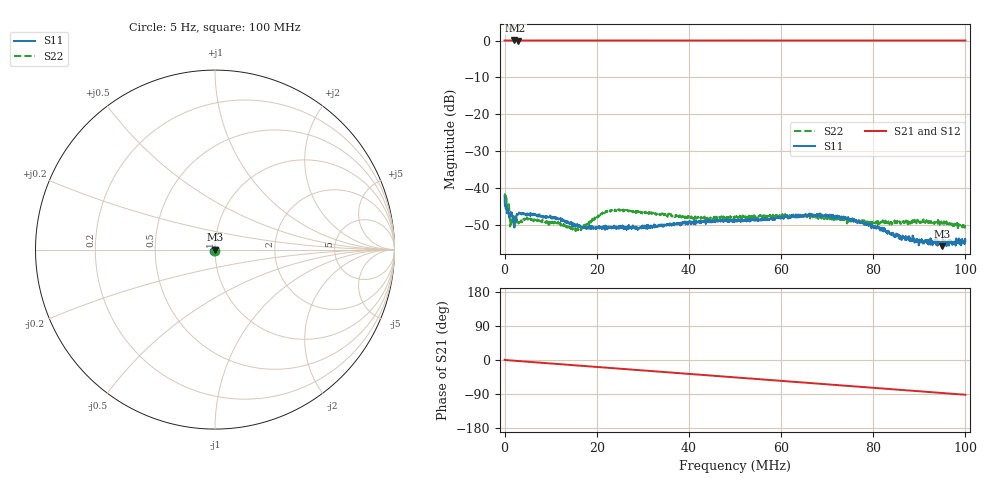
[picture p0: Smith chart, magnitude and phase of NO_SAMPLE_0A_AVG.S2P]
!Agilent Technologies,E5061B,MY49102235,A.02.00
!Date: Tue Jul 11 14:25:56 2023
!Data & Calibration Information:
!Freq	S11:SOLT2(ON)	S21:SOLT2(ON)	S12:SOLT2(ON)	S22:SOLT2(ON)
# Hz S RI R 50
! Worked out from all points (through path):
!   1600 points, 5 Hz to 100 MHz, reference 50 ohm
!   highest |S21| = 0.02 dB at 1.939 MHz (marker M1); lowest = 0.0 dB at 2.814 MHz (marker M2)
!   group delay of S21, straight-line fit = 2.55 ns
!   lowest |S11| = -55.8 dB at 94.93 MHz (marker M3), VSWR 1.00, Z = 49.9 - j0.105 ohm
!   |S11| at or under -10 dB: start of sweep to end of sweep
!   |S22| runs from -51.7 to -41.7 dB; largest |S21 - S12| = 0.0027
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5  -0.00528 -0.00563  1.001 0.00795  0.9999 0.0102  -0.00153 -0.00754
625395.8  0.00504 7.35e-05  1.002 -0.00965  1.002 -0.00911  0.00609 -0.000342
1000630  0.0039 0.000411  1.001 -0.0149  1.001 -0.0146  0.00525 -0.000518
1500943  0.0045 -0.000757  1.002 -0.0227  1.001 -0.0227  0.00313 -0.00193
1938717  0.00327 -6.06e-05  1.002 -0.0307  1.002 -0.0302  0.00353 0.000208
2376490  0.0035 -0.000206  1 -0.0377  1 -0.0381  0.00411 0.000129
2814264  0.00436 -0.000137  0.9994 -0.0452  0.9996 -0.0445  0.00337 7.88e-05
4878054  0.00449 -0.00055  0.9981 -0.0777  0.9978 -0.0776  0.00395 -0.000157
1.081927e7  0.00299 -0.0024  0.9864 -0.1723  0.9861 -0.172  0.00196 -0.00266
1.525954e7  0.00171 -0.00255  0.9713 -0.242  0.9711 -0.2414  0.00113 -0.00256
1.669794e7  0.00179 -0.00232  0.9653 -0.2642  0.9651 -0.2638  0.00135 -0.00239
2.107568e7  0.00207 -0.00183  0.9448 -0.3311  0.9444 -0.3308  0.0037 -0.00249
2.320201e7  0.00218 -0.00178  0.9329 -0.3631  0.9327 -0.3629  0.00409 -0.00271
3.333334e7  0.0017 -0.00262  0.862 -0.5089  0.8618 -0.5085  0.00262 -0.00342
4.402752e7  0.00166 -0.00319  0.7626 -0.6484  0.7626 -0.648  0.00123 -0.00374
5.003127e7  0.00147 -0.00327  0.697 -0.7187  0.6969 -0.7183  0.000926 -0.0039
6.672921e7  -0.00109 -0.00425  0.4822 -0.8772  0.4824 -0.877  -0.000648 -0.00398
7.404628e7  -0.00133 -0.00356  0.3764 -0.9274  0.3766 -0.9271  -0.000983 -0.00356
8.33646e7  -0.00128 -0.00212  0.2346 -0.9732  0.2346 -0.973  -0.000789 -0.00325
8.943089e7  -0.00128 -0.00157  0.139 -0.9912  0.1392 -0.991  -0.000927 -0.00342
9.493433e7  -0.00123 -0.00105  0.0512 -0.9995  0.0515 -0.9993  -0.00107 -0.00322
1e8  -0.00146 -0.00122  -0.03 -1  -0.0298 -1  -0.0012 -0.00279
